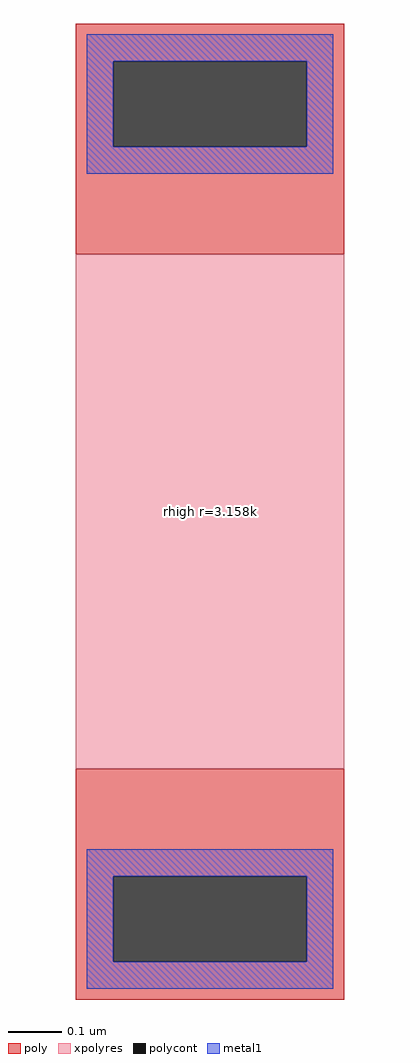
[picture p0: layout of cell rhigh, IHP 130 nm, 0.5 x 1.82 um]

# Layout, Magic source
magic
tech ihp-sg13g2
<< poly >>
rect 0 132 50 139
rect 0 116 7 132
rect 43 116 50 132
rect 0 96 50 116
rect 0 -20 50 0
rect 0 -36 7 -20
rect 43 -36 50 -20
rect 0 -43 50 -36
<< polycont >>
rect 7 116 43 132
rect 7 -36 43 -20
<< xpolyres >>
rect 0 0 50 96
<< metal1 >>
rect 2 132 48 137
rect 2 116 7 132
rect 43 116 48 132
rect 2 111 48 116
rect 2 -20 48 -15
rect 2 -36 7 -20
rect 43 -36 48 -20
rect 2 -41 48 -36
<< labels >>
flabel comment s 25 48 25 48 0 FreeSans 126 90 0 0 rhigh r=3.158k
<< end >>
